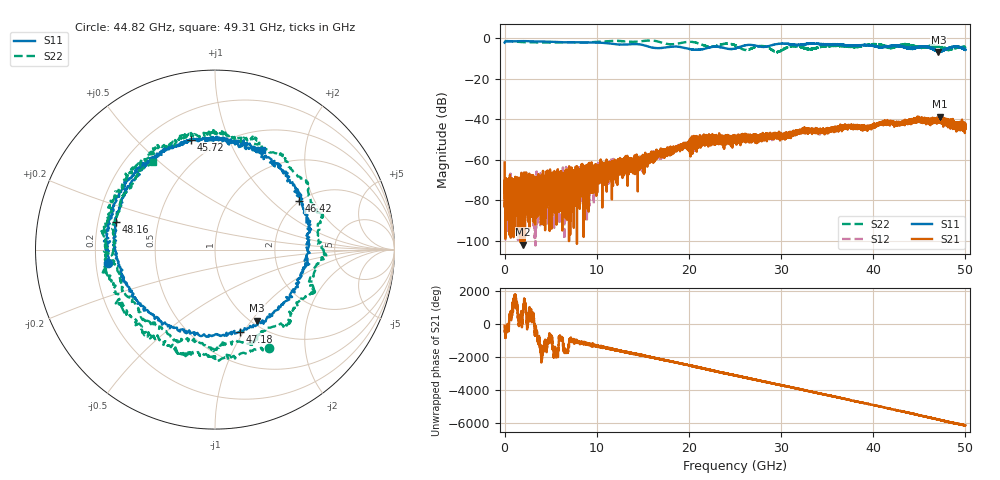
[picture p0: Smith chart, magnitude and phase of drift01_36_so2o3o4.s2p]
!Created with skrf (http://scikit-rf.org).
# Hz S RI R 50.0
!freq ReS11 ImS11 ReS21 ImS21 ReS12 ImS12 ReS22 ImS22
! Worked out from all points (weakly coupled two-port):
!   10001 points, 300 kHz to 50 GHz, reference 50 ohm
!   highest |S21| = -38.63 dB at 47.24 GHz (marker M1); lowest = -101.9 dB at 2.01 GHz (marker M2)
!   lowest |S11| = -6.7 dB at 47.08 GHz (marker M3), VSWR 2.71, Z = 53.2 - j53.4 ohm
!   |S11| at or under -10 dB: nowhere
!   |S22| runs from -6.9 to -1.0 dB; largest |S21 - S12| = 0.0035
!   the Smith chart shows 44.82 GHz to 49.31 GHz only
!   S11 on the Smith chart (normalised r, x): 44.82 GHz: 0.25, -0.06; 45.72 GHz: 0.37, +0.73; 46.42 GHz: 1.98, +1.54; 47.18 GHz: 0.81, -0.96; 48.16 GHz: 0.28, +0.13; 49.31 GHz: 0.73, +1.30
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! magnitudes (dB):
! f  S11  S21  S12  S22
! 300 kHz  -2.1  -61.3  -75.0  -1.3
! 255.3 MHz  -1.4  -77.2  -88.0  -1.4
! 2.01 GHz  -1.4  -101.9  -74.4  -1.9
! 5.755 GHz  -1.8  -71.1  -82.4  -2.0
! 8.335 GHz  -1.9  -67.9  -67.6  -2.1
! 16.67 GHz  -4.8  -57.3  -57.0  -1.6
! 21.68 GHz  -5.2  -50.9  -50.1  -3.6
! 25 GHz  -5.0  -48.3  -50.3  -3.4
! 28.12 GHz  -4.3  -49.4  -49.1  -3.8
! 29.53 GHz  -2.8  -47.5  -47.5  -6.7
! 31.26 GHz  -3.1  -46.5  -46.6  -4.0
! 33.34 GHz  -2.6  -45.4  -45.6  -5.3
! 41.67 GHz  -3.9  -41.1  -41.6  -4.5
! 44.82 GHz  -4.4  -40.1  -40.3  -4.1
! 45.72 GHz  -4.1  -40.4  -40.9  -4.3
! 46.42 GHz  -5.3  -40.3  -40.4  -3.6
! 47.08 GHz  -6.7  -41.0  -40.9  -4.1
! 47.18 GHz  -6.4  -39.5  -40.3  -4.3
! 47.24 GHz  -6.5  -38.6  -40.7  -4.3
! 48.16 GHz  -4.9  -42.2  -41.9  -5.3
! 49.31 GHz  -4.3  -44.1  -43.5  -4.4
! 50 GHz  -5.6  -43.8  -42.5  -4.3
